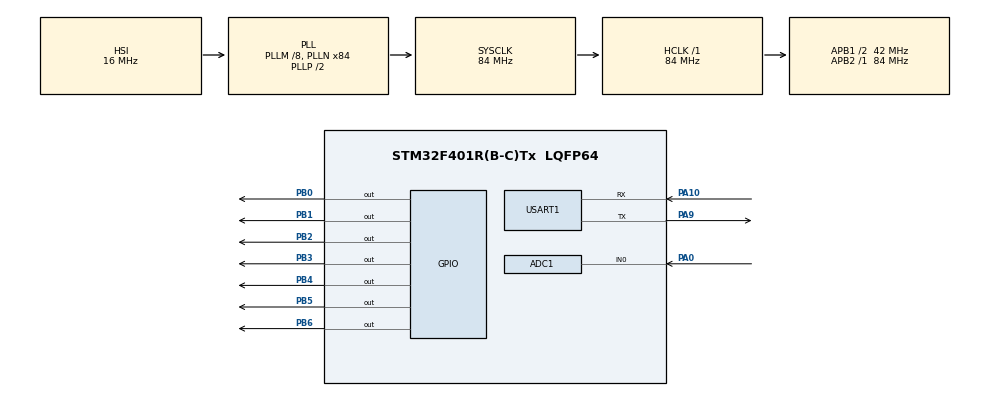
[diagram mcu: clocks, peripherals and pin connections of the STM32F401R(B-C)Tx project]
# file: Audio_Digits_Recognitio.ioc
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ADC1.Channel-0\#ChannelRegularConversion=ADC_CHANNEL_0
ADC1.ExternalTrigConv=ADC_EXTERNALTRIGCONV_T2_TRGO
ADC1.NbrOfConversionFlag=1
ADC1.Rank-0\#ChannelRegularConversion=1
ADC1.Resolution=ADC_RESOLUTION_8B
ADC1.SamplingTime-0\#ChannelRegularConversion=ADC_SAMPLETIME_3CYCLES
ADC1.master=1
Dma.ADC1.0.Direction=DMA_PERIPH_TO_MEMORY
Dma.ADC1.0.FIFOMode=DMA_FIFOMODE_DISABLE
Dma.ADC1.0.Instance=DMA2_Stream0
Dma.ADC1.0.MemDataAlignment=DMA_MDATAALIGN_BYTE
Dma.ADC1.0.MemInc=DMA_MINC_ENABLE
Dma.ADC1.0.Mode=DMA_CIRCULAR
Dma.ADC1.0.PeriphDataAlignment=DMA_PDATAALIGN_BYTE
Dma.ADC1.0.PeriphInc=DMA_PINC_DISABLE
Dma.ADC1.0.Priority=DMA_PRIORITY_LOW
Dma.Request0=ADC1
Mcu.Family=STM32F4
Mcu.Name=STM32F401R(B-C)Tx
Mcu.Package=LQFP64
NVIC.DMA2_Stream0_IRQn=true\:0\:0\:false\:false\:true\:false\:true\:true
NVIC.PriorityGroup=NVIC_PRIORITYGROUP_4
PA0-WKUP.Signal=ADCx_IN0
PA10.Mode=Asynchronous
PA10.Signal=USART1_RX
PA13.Mode=Serial_Wire
PA13.Signal=SYS_JTMS-SWDIO
PA14.Mode=Serial_Wire
PA14.Signal=SYS_JTCK-SWCLK
PA9.Mode=Asynchronous
PA9.Signal=USART1_TX
PB0.Signal=GPIO_Output
PB1.Signal=GPIO_Output
PB2.Signal=GPIO_Output
PB3.Signal=GPIO_Output
PB4.Signal=GPIO_Output
PB5.Signal=GPIO_Output
PB6.Signal=GPIO_Output
PH0\ -\ OSC_IN.Mode=HSE-External-Oscillator
PH0\ -\ OSC_IN.Signal=RCC_OSC_IN
PH1\ -\ OSC_OUT.Mode=HSE-External-Oscillator
PH1\ -\ OSC_OUT.Signal=RCC_OSC_OUT
ProjectManager.HeapSize=0x200
ProjectManager.StackSize=0x400
ProjectManager.TargetToolchain=STM32CubeIDE
RCC.48MHZClocksFreq_Value=42000000
RCC.AHBFreq_Value=84000000
RCC.APB1CLKDivider=RCC_HCLK_DIV2
RCC.APB1Freq_Value=42000000
RCC.APB1TimFreq_Value=84000000
RCC.APB2Freq_Value=84000000
RCC.APB2TimFreq_Value=84000000
RCC.CortexFreq_Value=84000000
RCC.HCLKFreq_Value=84000000
RCC.HSE_VALUE=25000000
RCC.HSI_VALUE=16000000
RCC.LSE_VALUE=32768
RCC.PLLM=8
RCC.PLLN=84
RCC.SYSCLKFreq_VALUE=84000000
RCC.SYSCLKSource=RCC_SYSCLKSOURCE_PLLCLK
RCC.VCOOutputFreq_Value=168000000
SH.ADCx_IN0.0=ADC1_IN0,IN0
TIM2.Period=124
TIM2.Prescaler=83
TIM2.TIM_MasterOutputTrigger=TIM_TRGO_UPDATE
USART1.VirtualMode=VM_ASYNC
VP_TIM2_VS_ClockSourceINT.Mode=Internal
board=custom

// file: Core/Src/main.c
/* USER CODE BEGIN Header */
/**
  ******************************************************************************
  * @file           : main.c
  * @brief          : Main program body
  ******************************************************************************
  * @attention
  *
  * Copyright (c) 2026 STMicroelectronics.
  * All rights reserved.
  *
  * This software is licensed under terms that can be found in the LICENSE file
  * in the root directory of this software component.
  * If no LICENSE file comes with this software, it is provided AS-IS.
  *
  ******************************************************************************
  */
/* USER CODE END Header */
#include "main.h"

/* USER CODE BEGIN Includes */
#include "model_parameters.h"
#include "nn_inference.h"
#include "test_sample.h"
#include "audio_processor.h"
#include <stdio.h>
/* USER CODE END Includes */

ADC_HandleTypeDef hadc1;
DMA_HandleTypeDef hdma_adc1;

TIM_HandleTypeDef htim2;

UART_HandleTypeDef huart1;

/* USER CODE BEGIN PV */
#define AUDIO_BUF_SIZE 8000
#define SPEECH_THRESHOLD 8

uint8_t dma_audio_buf[AUDIO_BUF_SIZE];
int8_t live_spectrogram[AUDIO_SPECTROGRAM_LEN];
volatile uint8_t dma_complete = 0;

int predicted_class = -1;
int32_t output_scores[12];
uint32_t inference_time_ms = 0;
uint32_t start_tick = 0;

static const uint8_t SEVEN_SEG_LUT[10] = {
    0x3F, 0x06, 0x5B, 0x4F, 0x66, 0x6D, 0x7D, 0x07, 0x7F, 0x6F
};
/* USER CODE END PV */

void SystemClock_Config(void);
static void MX_GPIO_Init(void);
static void MX_DMA_Init(void);
static void MX_ADC1_Init(void);
static void MX_TIM2_Init(void);
static void MX_USART1_UART_Init(void);

/* USER CODE BEGIN 0 */

// Retarget printf to USART1 serial console
int __io_putchar(int ch) {
    HAL_UART_Transmit(&huart1, (uint8_t *)&ch, 1, HAL_MAX_DELAY);
    return ch;
}
int _write(int file, char *ptr, int len) {
    HAL_UART_Transmit(&huart1, (uint8_t *)ptr, len, HAL_MAX_DELAY);
    return len;
}

// 7-segment display driver for pins PB0 - PB6
void Display_Digit_On_7Seg(int digit) {
    if (digit >= 0 && digit <= 9) {
        uint8_t pattern = SEVEN_SEG_LUT[digit];
        // Set GPIO pin according to corresponding segment bit
        HAL_GPIO_WritePin(GPIOB, GPIO_PIN_0, (pattern & (1 << 0)) ? GPIO_PIN_SET : GPIO_PIN_RESET); // Seg A
        HAL_GPIO_WritePin(GPIOB, GPIO_PIN_1, (pattern & (1 << 1)) ? GPIO_PIN_SET : GPIO_PIN_RESET); // Seg B
        HAL_GPIO_WritePin(GPIOB, GPIO_PIN_2, (pattern & (1 << 2)) ? GPIO_PIN_SET : GPIO_PIN_RESET); // Seg C
        HAL_GPIO_WritePin(GPIOB, GPIO_PIN_3, (pattern & (1 << 3)) ? GPIO_PIN_SET : GPIO_PIN_RESET); // Seg D
        HAL_GPIO_WritePin(GPIOB, GPIO_PIN_4, (pattern & (1 << 4)) ? GPIO_PIN_SET : GPIO_PIN_RESET); // Seg E
        HAL_GPIO_WritePin(GPIOB, GPIO_PIN_5, (pattern & (1 << 5)) ? GPIO_PIN_SET : GPIO_PIN_RESET); // Seg F
        HAL_GPIO_WritePin(GPIOB, GPIO_PIN_6, (pattern & (1 << 6)) ? GPIO_PIN_SET : GPIO_PIN_RESET); // Seg G
    } else {
        // If class is non-digit (unknown/background), display dash '-' (Segment G only)
        HAL_GPIO_WritePin(GPIOB, GPIO_PIN_0|GPIO_PIN_1|GPIO_PIN_2|GPIO_PIN_3|GPIO_PIN_4|GPIO_PIN_5, GPIO_PIN_RESET);
        HAL_GPIO_WritePin(GPIOB, GPIO_PIN_6, GPIO_PIN_SET);
    }
}
/* USER CODE END 0 */

int main(void)
{

  /* MCU Configuration--------------------------------------------------------*/

  /* Reset of all peripherals, Initializes the Flash interface and the Systick. */
  HAL_Init();

  /* Configure the system clock */
  SystemClock_Config();

  /* Initialize all configured peripherals */
  MX_GPIO_Init();
  MX_DMA_Init();
  MX_ADC1_Init();
  MX_TIM2_Init();
  MX_USART1_UART_Init();
  /* USER CODE BEGIN 2 */
  audio_processor_init();
  HAL_TIM_Base_Start(&htim2);
  HAL_ADC_Start_DMA(&hadc1, (uint32_t*)dma_audio_buf, AUDIO_BUF_SIZE);

  printf("\r\n=========================================\r\n");
  printf("  Live Voice Digit Recognition Ready!\r\n");
#ifdef QUANTIZATION_MODE_LINEAR
  printf("  [Mode: Linear Fixed-Point Quantization]\r\n");
#else
  printf("  [Mode: Power-of-Two (PoT) Quantization]\r\n");
#endif
  printf("  Speak a digit (zero .. nine) into mic\r\n");
  printf("=========================================\r\n");
  /* USER CODE END 2 */

  /* Infinite loop */
  /* USER CODE BEGIN WHILE */
  printf("\r\nReady! Say a digit clearly (e.g. 'five', 'seven', 'two')...\r\n");

  while (1)
  {
    // 1. Start audio acquisition for 1 second
    dma_complete = 0;
    HAL_ADC_Start_DMA(&hadc1, (uint32_t*)dma_audio_buf, AUDIO_BUF_SIZE);
    while (!dma_complete) { } // Wait for 1-second audio DMA transfer

    // 2. Measure audio energy (VAD)
    uint32_t sum = 0;
    for (int i = 0; i < AUDIO_BUF_SIZE; i++) sum += dma_audio_buf[i];
    int avg = sum / AUDIO_BUF_SIZE;

    uint32_t energy = 0;
    for (int i = 0; i < AUDIO_BUF_SIZE; i++) {
        int diff = (int)dma_audio_buf[i] - avg;
        if (diff < 0) diff = -diff;
        energy += diff;
    }
    energy /= AUDIO_BUF_SIZE;

    // 3. If speech detected (Energy >= 4)
    if (energy >= 4) {
        printf("\n====================================\n");
        printf("[Heard You! Energy: %lu] Analyzing...\r\n", energy);

        compute_spectrogram(dma_audio_buf, live_spectrogram);

        uint32_t t_start = HAL_GetTick();
        predicted_class = nn_predict(live_spectrogram, output_scores);
        inference_time_ms = HAL_GetTick() - t_start;

        // Print top prediction
        printf(">>> Best Match : %s (%d)\r\n", CLASS_NAMES[predicted_class], predicted_class);
        printf(">>> Latency    : %lu ms\r\n", inference_time_ms);

        // Print top-3 predictions with confidence
        printf("--- Top Predictions ---\r\n");
        for (int rank = 0; rank < 3; rank++) {
            int top_idx = 0;
            int32_t top_score = -2147483647;
            for (int c = 0; c < 12; c++) {
                if (output_scores[c] > top_score) {
                    top_score = output_scores[c];
                    top_idx = c;
                }
            }
            printf("  #%d: %-10s (score: %ld)\r\n", rank + 1, CLASS_NAMES[top_idx], top_score);
            output_scores[top_idx] = -2147483647; // Suppress top candidate for ranking
        }
        printf("====================================\n\n");

        Display_Digit_On_7Seg(predicted_class);

        // 1-second debounce delay to prevent re-triggering on echo
        HAL_Delay(1000);
    }
  }
  /* USER CODE END WHILE */
}

void SystemClock_Config(void)
{
  RCC_OscInitTypeDef RCC_OscInitStruct = {0};
  RCC_ClkInitTypeDef RCC_ClkInitStruct = {0};

  /** Configure the main internal regulator output voltage
  */
  __HAL_RCC_PWR_CLK_ENABLE();
  __HAL_PWR_VOLTAGESCALING_CONFIG(PWR_REGULATOR_VOLTAGE_SCALE2);

  /** Initializes the RCC Oscillators according to the specified parameters
  * in the RCC_OscInitTypeDef structure.
  */
  RCC_OscInitStruct.OscillatorType = RCC_OSCILLATORTYPE_HSI;
  RCC_OscInitStruct.HSIState = RCC_HSI_ON;
  RCC_OscInitStruct.HSICalibrationValue = RCC_HSICALIBRATION_DEFAULT;
  RCC_OscInitStruct.PLL.PLLState = RCC_PLL_ON;
  RCC_OscInitStruct.PLL.PLLSource = RCC_PLLSOURCE_HSI;
  RCC_OscInitStruct.PLL.PLLM = 8;
  RCC_OscInitStruct.PLL.PLLN = 84;
  RCC_OscInitStruct.PLL.PLLP = RCC_PLLP_DIV2;
  RCC_OscInitStruct.PLL.PLLQ = 4;
  if (HAL_RCC_OscConfig(&RCC_OscInitStruct) != HAL_OK)
  {
    Error_Handler();
  }

  /** Initializes the CPU, AHB and APB buses clocks
  */
  RCC_ClkInitStruct.ClockType = RCC_CLOCKTYPE_HCLK|RCC_CLOCKTYPE_SYSCLK
                              |RCC_CLOCKTYPE_PCLK1|RCC_CLOCKTYPE_PCLK2;
  RCC_ClkInitStruct.SYSCLKSource = RCC_SYSCLKSOURCE_PLLCLK;
  RCC_ClkInitStruct.AHBCLKDivider = RCC_SYSCLK_DIV1;
  RCC_ClkInitStruct.APB1CLKDivider = RCC_HCLK_DIV2;
  RCC_ClkInitStruct.APB2CLKDivider = RCC_HCLK_DIV1;

  if (HAL_RCC_ClockConfig(&RCC_ClkInitStruct, FLASH_LATENCY_2) != HAL_OK)
  {
    Error_Handler();
  }
}

static void MX_ADC1_Init(void)
{

  ADC_ChannelConfTypeDef sConfig = {0};

  /** Configure the global features of the ADC (Clock, Resolution, Data Alignment and number of conversion)
  */
  hadc1.Instance = ADC1;
  hadc1.Init.ClockPrescaler = ADC_CLOCK_SYNC_PCLK_DIV4;
  hadc1.Init.Resolution = ADC_RESOLUTION_8B;
  hadc1.Init.ScanConvMode = DISABLE;
  hadc1.Init.ContinuousConvMode = DISABLE;
  hadc1.Init.DiscontinuousConvMode = DISABLE;
  hadc1.Init.ExternalTrigConvEdge = ADC_EXTERNALTRIGCONVEDGE_RISING;
  hadc1.Init.ExternalTrigConv = ADC_EXTERNALTRIGCONV_T2_TRGO;
  hadc1.Init.DataAlign = ADC_DATAALIGN_RIGHT;
  hadc1.Init.NbrOfConversion = 1;
  hadc1.Init.DMAContinuousRequests = DISABLE;
  hadc1.Init.EOCSelection = ADC_EOC_SINGLE_CONV;
  if (HAL_ADC_Init(&hadc1) != HAL_OK)
  {
    Error_Handler();
  }

  /** Configure for the selected ADC regular channel its corresponding rank in the sequencer and its sample time.
  */
  sConfig.Channel = ADC_CHANNEL_0;
  sConfig.Rank = 1;
  sConfig.SamplingTime = ADC_SAMPLETIME_3CYCLES;
  if (HAL_ADC_ConfigChannel(&hadc1, &sConfig) != HAL_OK)
  {
    Error_Handler();
  }

}

static void MX_TIM2_Init(void)
{

  TIM_ClockConfigTypeDef sClockSourceConfig = {0};
  TIM_MasterConfigTypeDef sMasterConfig = {0};

  htim2.Instance = TIM2;
  htim2.Init.Prescaler = 83;
  htim2.Init.CounterMode = TIM_COUNTERMODE_UP;
  htim2.Init.Period = 124;
  htim2.Init.ClockDivision = TIM_CLOCKDIVISION_DIV1;
  htim2.Init.AutoReloadPreload = TIM_AUTORELOAD_PRELOAD_DISABLE;
  if (HAL_TIM_Base_Init(&htim2) != HAL_OK)
  {
    Error_Handler();
  }
  sClockSourceConfig.ClockSource = TIM_CLOCKSOURCE_INTERNAL;
  if (HAL_TIM_ConfigClockSource(&htim2, &sClockSourceConfig) != HAL_OK)
  {
    Error_Handler();
  }
  sMasterConfig.MasterOutputTrigger = TIM_TRGO_UPDATE;
  sMasterConfig.MasterSlaveMode = TIM_MASTERSLAVEMODE_DISABLE;
  if (HAL_TIMEx_MasterConfigSynchronization(&htim2, &sMasterConfig) != HAL_OK)
  {
    Error_Handler();
  }

}

static void MX_USART1_UART_Init(void)
{

  huart1.Instance = USART1;
  huart1.Init.BaudRate = 115200;
  huart1.Init.WordLength = UART_WORDLENGTH_8B;
  huart1.Init.StopBits = UART_STOPBITS_1;
  huart1.Init.Parity = UART_PARITY_NONE;
  huart1.Init.Mode = UART_MODE_TX_RX;
  huart1.Init.HwFlowCtl = UART_HWCONTROL_NONE;
  huart1.Init.OverSampling = UART_OVERSAMPLING_16;
  if (HAL_UART_Init(&huart1) != HAL_OK)
  {
    Error_Handler();
  }

}

static void MX_DMA_Init(void)
{

  /* DMA controller clock enable */
  __HAL_RCC_DMA2_CLK_ENABLE();

  /* DMA interrupt init */
  /* DMA2_Stream0_IRQn interrupt configuration */
  HAL_NVIC_SetPriority(DMA2_Stream0_IRQn, 0, 0);
  HAL_NVIC_EnableIRQ(DMA2_Stream0_IRQn);

}

static void MX_GPIO_Init(void)
{
  GPIO_InitTypeDef GPIO_InitStruct = {0};

  /* GPIO Ports Clock Enable */
  __HAL_RCC_GPIOH_CLK_ENABLE();
  __HAL_RCC_GPIOA_CLK_ENABLE();
  __HAL_RCC_GPIOB_CLK_ENABLE();

  /*Configure GPIO pin Output Level */
  HAL_GPIO_WritePin(GPIOB, GPIO_PIN_0|GPIO_PIN_1|GPIO_PIN_2|GPIO_PIN_3
                          |GPIO_PIN_4|GPIO_PIN_5|GPIO_PIN_6, GPIO_PIN_RESET);

  /*Configure GPIO pins : PB0 PB1 PB2 PB3
                           PB4 PB5 PB6 */
  GPIO_InitStruct.Pin = GPIO_PIN_0|GPIO_PIN_1|GPIO_PIN_2|GPIO_PIN_3
                          |GPIO_PIN_4|GPIO_PIN_5|GPIO_PIN_6;
  GPIO_InitStruct.Mode = GPIO_MODE_OUTPUT_PP;
  GPIO_InitStruct.Pull = GPIO_NOPULL;
  GPIO_InitStruct.Speed = GPIO_SPEED_FREQ_LOW;
  HAL_GPIO_Init(GPIOB, &GPIO_InitStruct);

}

/* USER CODE BEGIN 4 */
// Called automatically when 1-second audio DMA buffer fills
void HAL_ADC_ConvCpltCallback(ADC_HandleTypeDef* hadc) {
    if (hadc->Instance == ADC1) {
        dma_complete = 1;
    }
}
/* USER CODE END 4 */

void Error_Handler(void)
{
  __disable_irq();
  while (1)
  {
  }
}
